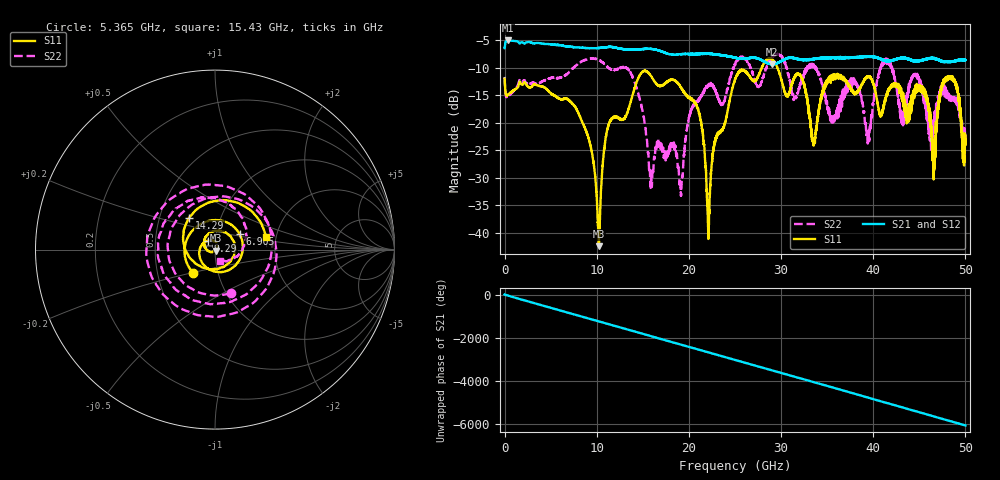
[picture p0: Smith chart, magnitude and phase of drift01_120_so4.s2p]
!Created with skrf (http://scikit-rf.org).
# Hz S RI R 50.0
!freq ReS11 ImS11 ReS21 ImS21 ReS12 ImS12 ReS22 ImS22
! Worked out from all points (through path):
!   10001 points, 300 kHz to 50 GHz, reference 50 ohm
!   highest |S21| = -5.05 dB at 325.3 MHz (marker M1); lowest = -9.4 dB at 29.04 GHz (marker M2)
!   group delay of S21, straight-line fit = 336 ps
!   lowest |S11| = -42.4 dB at 10.22 GHz (marker M3), VSWR 1.02, Z = 50.5 - j0.531 ohm
!   |S11| at or under -10 dB: start of sweep to 27.9 GHz; 29.61 GHz to end of sweep
!   |S22| runs from -33.3 to -7.5 dB; largest |S21 - S12| = 0.014
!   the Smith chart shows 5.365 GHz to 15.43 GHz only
!   S11 on the Smith chart (normalised r, x): 5.365 GHz: 0.76, -0.20; 6.905 GHz: 1.30, +0.23; 9.29 GHz: 0.92, +0.09; 14.29 GHz: 0.71, +0.26; 15.43 GHz: 1.77, +0.27
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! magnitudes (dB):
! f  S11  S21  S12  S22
! 300 kHz  -12.0  -6.5  -6.5  -11.7
! 325.3 MHz  -15.0  -5.1  -5.1  -15.3
! 5.365 GHz  -15.0  -5.8  -5.8  -11.8
! 6.905 GHz  -15.8  -6.1  -6.1  -11.0
! 8.335 GHz  -19.5  -6.4  -6.4  -8.9
! 9.29 GHz  -24.0  -6.4  -6.4  -8.3
! 10.22 GHz  -42.4  -6.4  -6.4  -8.6
! 11.23 GHz  -20.7  -6.3  -6.2  -9.9
! 14.29 GHz  -12.8  -6.7  -6.7  -13.5
! 15.43 GHz  -10.7  -6.6  -6.6  -22.9
! 16.67 GHz  -13.2  -6.9  -6.8  -23.4
! 19.14 GHz  -13.6  -7.6  -7.6  -33.3
! 20.86 GHz  -17.0  -7.5  -7.5  -16.1
! 22.13 GHz  -40.7  -7.5  -7.5  -13.3
! 25 GHz  -12.1  -8.2  -8.2  -9.5
! 29.04 GHz  -8.6  -9.4  -9.4  -8.1
! 33.34 GHz  -22.2  -8.5  -8.4  -9.7
! 39.47 GHz  -11.7  -8.0  -8.0  -22.0
! 41.67 GHz  -13.8  -8.7  -8.7  -9.1
! 46.55 GHz  -27.7  -8.3  -8.3  -20.5
! 48.58 GHz  -12.3  -8.9  -8.9  -15.8
! 50 GHz  -24.0  -8.6  -8.7  -22.6
